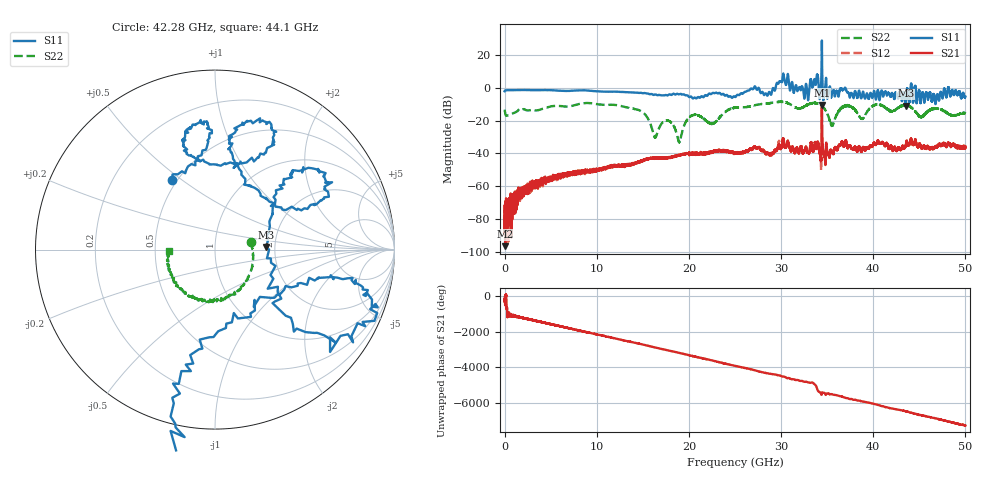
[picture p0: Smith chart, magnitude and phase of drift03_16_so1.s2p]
!Created with skrf (http://scikit-rf.org).
# Hz S RI R 50.0
!freq ReS11 ImS11 ReS21 ImS21 ReS12 ImS12 ReS22 ImS22
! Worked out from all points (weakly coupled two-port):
!   10000 points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, 5.3 MHz to 50 GHz, reference 50 ohm
!   highest |S21| = -10.48 dB at 34.43 GHz (marker M1); lowest = -96.5 dB at 65.3 MHz (marker M2)
!   lowest |S11| = -10.9 dB at 43.52 GHz (marker M3), VSWR 1.80, Z = 89.8 + j2.9 ohm
!   |S11| at or under -10 dB: 43.50346 GHz to 43.53622 GHz (32.77 MHz wide, 0.0753 % of centre)
!   |S22| runs from -33.1 to -8.4 dB; largest |S21 - S12| = 0.084
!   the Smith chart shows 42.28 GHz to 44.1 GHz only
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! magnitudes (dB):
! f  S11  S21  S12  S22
! 5.3 MHz  -2.1  -72.1  -78.2  -13.3
! 65.3 MHz  -1.5  -96.5  -74.6  -15.5
! 3.115 GHz  -1.4  -58.8  -59.4  -13.4
! 8.34 GHz  -1.5  -51.0  -50.9  -9.5
! 14.52 GHz  -3.1  -45.0  -45.4  -13.5
! 16.67 GHz  -4.4  -42.9  -42.8  -25.9
! 17.82 GHz  -4.2  -42.3  -42.3  -20.1
! 18.96 GHz  -4.0  -41.2  -41.0  -33.1
! 20.28 GHz  -5.5  -40.2  -40.0  -17.0
! 22.56 GHz  -3.1  -39.4  -39.2  -21.6
! 25.01 GHz  -5.5  -39.6  -39.7  -12.1
! 28.72 GHz  -2.5  -40.6  -40.2  -9.4
! 30.14 GHz  4.3  -34.0  -34.0  -8.6
! 32.74 GHz  2.0  -36.9  -36.4  -10.7
! 33.34 GHz  2.5  -34.7  -35.3  -9.4
! 34.43 GHz  28.9  -10.5  -12.5  -10.9
! 35.54 GHz  -3.1  -38.9  -39.2  -22.5
! 36.98 GHz  0.0  -32.7  -32.9  -10.9
! 38.76 GHz  -5.6  -38.0  -38.0  -18.9
! 41.67 GHz  -3.1  -36.9  -37.0  -13.4
! 43.52 GHz  -10.9  -35.0  -35.1  -10.7
! 50 GHz  -5.3  -35.6  -35.9  -15.6
